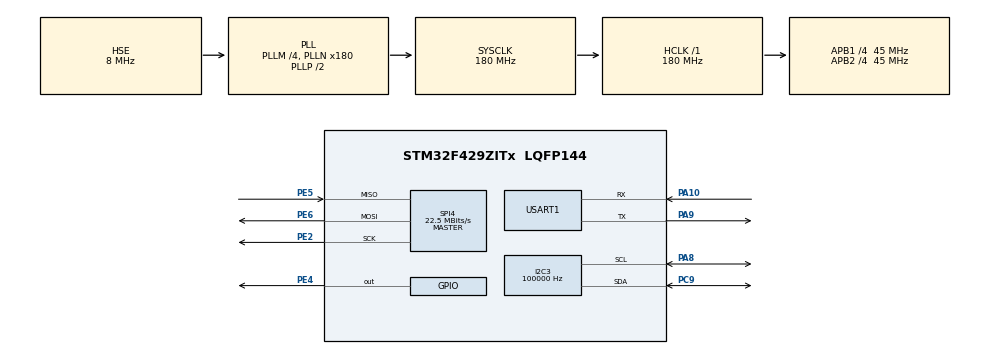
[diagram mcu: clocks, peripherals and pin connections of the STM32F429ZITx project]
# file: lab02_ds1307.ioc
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I2C3.ClockSpeed=100000
I2C3.I2C_Mode=I2C_Fast
Mcu.Family=STM32F4
Mcu.Name=STM32F429ZITx
Mcu.Package=LQFP144
NVIC.PriorityGroup=NVIC_PRIORITYGROUP_4
PA10.Mode=Asynchronous
PA10.Signal=USART1_RX
PA8.Mode=I2C
PA8.Signal=I2C3_SCL
PA9.Mode=Asynchronous
PA9.Signal=USART1_TX
PC9.Mode=I2C
PC9.Signal=I2C3_SDA
PE2.Mode=Full_Duplex_Master
PE2.Signal=SPI4_SCK
PE4.Signal=GPIO_Output
PE5.Mode=Full_Duplex_Master
PE5.Signal=SPI4_MISO
PE6.Mode=Full_Duplex_Master
PE6.Signal=SPI4_MOSI
PH0/OSC_IN.Mode=HSE-External-Oscillator
PH0/OSC_IN.Signal=RCC_OSC_IN
PH1/OSC_OUT.Mode=HSE-External-Oscillator
PH1/OSC_OUT.Signal=RCC_OSC_OUT
ProjectManager.HeapSize=0x200
ProjectManager.StackSize=0x400
ProjectManager.TargetToolchain=STM32CubeIDE
RCC.48MHZClocksFreq_Value=90000000
RCC.AHBFreq_Value=180000000
RCC.APB1CLKDivider=RCC_HCLK_DIV4
RCC.APB1Freq_Value=45000000
RCC.APB1TimFreq_Value=90000000
RCC.APB2CLKDivider=RCC_HCLK_DIV4
RCC.APB2Freq_Value=45000000
RCC.APB2TimFreq_Value=90000000
RCC.CortexFreq_Value=180000000
RCC.HCLKFreq_Value=180000000
RCC.HSE_VALUE=8000000
RCC.HSI_VALUE=16000000
RCC.LSE_VALUE=32768
RCC.PLLM=4
RCC.PLLN=180
RCC.PLLSourceVirtual=RCC_PLLSOURCE_HSE
RCC.SYSCLKFreq_VALUE=180000000
RCC.SYSCLKSource=RCC_SYSCLKSOURCE_PLLCLK
RCC.VCOOutputFreq_Value=360000000
SPI4.CalculateBaudRate=22.5 MBits/s
SPI4.Direction=SPI_DIRECTION_2LINES
SPI4.Mode=SPI_MODE_MASTER
SPI4.VirtualType=VM_MASTER
USART1.VirtualMode=VM_ASYNC
board=custom

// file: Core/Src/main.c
/* USER CODE BEGIN Header */
/**
  ******************************************************************************
  * @file           : main.c
  * @brief          : Main program body
  ******************************************************************************
  * @attention
  *
  * Copyright (c) 2026 STMicroelectronics.
  * All rights reserved.
  *
  * This software is licensed under terms that can be found in the LICENSE file
  * in the root directory of this software component.
  * If no LICENSE file comes with this software, it is provided AS-IS.
  *
  ******************************************************************************
  */
/* USER CODE END Header */
#include "main.h"

/* USER CODE BEGIN Includes */
#include <stdio.h>
#include <string.h>
/* USER CODE END Includes */

/* USER CODE BEGIN PD */
#define DS1307_ADDR_WRITE 0xD0
#define DS1307_ADDR_READ  0xD1
#define DS1307_SET_TIME_ONCE 1
/* USER CODE END PD */

I2C_HandleTypeDef hi2c3;

SPI_HandleTypeDef hspi4;

UART_HandleTypeDef huart1;

/* USER CODE BEGIN PV */
struct Time
{
  uint8_t sec;
  uint8_t min;
  uint8_t hour;
  uint8_t weekday;
  uint8_t day;
  uint8_t month;
  uint8_t year;
};
/* USER CODE END PV */

void SystemClock_Config(void);
static void MX_GPIO_Init(void);
static void MX_I2C3_Init(void);
static void MX_SPI4_Init(void);
static void MX_USART1_UART_Init(void);
/* USER CODE BEGIN PFP */
HAL_StatusTypeDef SetTime(struct Time *t);
HAL_StatusTypeDef GetTime(struct Time *t);
/* USER CODE END PFP */

/* USER CODE BEGIN 0 */
static uint8_t DecToBcd(uint8_t val)
{
  return ((val / 10) << 4) | (val % 10);
}

static uint8_t BcdToDec(uint8_t val)
{
  return ((val >> 4) * 10) + (val & 0x0F);
}

HAL_StatusTypeDef SetTime(struct Time *t)
{
  uint8_t data[7];

  data[0] = DecToBcd(t->sec) & 0x7F;
  data[1] = DecToBcd(t->min);
  data[2] = DecToBcd(t->hour);
  data[3] = DecToBcd(t->weekday);
  data[4] = DecToBcd(t->day);
  data[5] = DecToBcd(t->month);
  data[6] = DecToBcd(t->year);

  return HAL_I2C_Mem_Write(&hi2c3, DS1307_ADDR_WRITE, 0x00, I2C_MEMADD_SIZE_8BIT, data, 7, 1000);
}

HAL_StatusTypeDef GetTime(struct Time *t)
{
  uint8_t data[7];
  HAL_StatusTypeDef ret;

  ret = HAL_I2C_Mem_Read(&hi2c3, DS1307_ADDR_READ, 0x00, I2C_MEMADD_SIZE_8BIT, data, 7, 1000);
  if (ret != HAL_OK)
  {
    return ret;
  }

  t->sec     = BcdToDec(data[0] & 0x7F);
  t->min     = BcdToDec(data[1] & 0x7F);
  t->hour    = BcdToDec(data[2] & 0x3F);
  t->weekday = BcdToDec(data[3] & 0x07);
  t->day     = BcdToDec(data[4] & 0x3F);
  t->month   = BcdToDec(data[5] & 0x1F);
  t->year    = BcdToDec(data[6]);

  return HAL_OK;
}
/* USER CODE END 0 */

int main(void)
{

  /* MCU Configuration--------------------------------------------------------*/

  /* Reset of all peripherals, Initializes the Flash interface and the Systick. */
  HAL_Init();

  /* Configure the system clock */
  SystemClock_Config();

  /* Initialize all configured peripherals */
  MX_GPIO_Init();
  MX_I2C3_Init();
  MX_SPI4_Init();
  MX_USART1_UART_Init();
  /* USER CODE BEGIN 2 */
  struct Time set_time, get_time;
  char buff[50];

  set_time.sec = 10;
  set_time.min = 30;
  set_time.hour = 7;
  set_time.weekday = 2;
  set_time.day = 10;
  set_time.month = 5;
  set_time.year = 26;

  #if DS1307_SET_TIME_ONCE
  SetTime(&set_time);
  #endif
  /* USER CODE END 2 */

  /* Infinite loop */
  while (1)
  {

    /* USER CODE BEGIN 3 */
	  if (GetTime(&get_time) == HAL_OK)
	  {
	    sprintf(buff, "%02d:%02d:%02d-%02d-%02d/%02d/%02d\r\n",
	            get_time.hour,
	            get_time.min,
	            get_time.sec,
	            get_time.weekday,
	            get_time.day,
	            get_time.month,
	            get_time.year);

	    HAL_UART_Transmit(&huart1, (uint8_t *)buff, strlen(buff), 1000);
	  }
	  else
	  {
	    sprintf(buff, "DS1307 read error\r\n");
	    HAL_UART_Transmit(&huart1, (uint8_t *)buff, strlen(buff), 1000);
	  }

	  HAL_Delay(500);
  }
  /* USER CODE END 3 */
}

void SystemClock_Config(void)
{
  RCC_OscInitTypeDef RCC_OscInitStruct = {0};
  RCC_ClkInitTypeDef RCC_ClkInitStruct = {0};

  /** Configure the main internal regulator output voltage
  */
  __HAL_RCC_PWR_CLK_ENABLE();
  __HAL_PWR_VOLTAGESCALING_CONFIG(PWR_REGULATOR_VOLTAGE_SCALE1);

  /** Initializes the RCC Oscillators according to the specified parameters
  * in the RCC_OscInitTypeDef structure.
  */
  RCC_OscInitStruct.OscillatorType = RCC_OSCILLATORTYPE_HSE;
  RCC_OscInitStruct.HSEState = RCC_HSE_ON;
  RCC_OscInitStruct.PLL.PLLState = RCC_PLL_ON;
  RCC_OscInitStruct.PLL.PLLSource = RCC_PLLSOURCE_HSE;
  RCC_OscInitStruct.PLL.PLLM = 4;
  RCC_OscInitStruct.PLL.PLLN = 180;
  RCC_OscInitStruct.PLL.PLLP = RCC_PLLP_DIV2;
  RCC_OscInitStruct.PLL.PLLQ = 4;
  if (HAL_RCC_OscConfig(&RCC_OscInitStruct) != HAL_OK)
  {
    Error_Handler();
  }

  /** Activate the Over-Drive mode
  */
  if (HAL_PWREx_EnableOverDrive() != HAL_OK)
  {
    Error_Handler();
  }

  /** Initializes the CPU, AHB and APB buses clocks
  */
  RCC_ClkInitStruct.ClockType = RCC_CLOCKTYPE_HCLK|RCC_CLOCKTYPE_SYSCLK
                              |RCC_CLOCKTYPE_PCLK1|RCC_CLOCKTYPE_PCLK2;
  RCC_ClkInitStruct.SYSCLKSource = RCC_SYSCLKSOURCE_PLLCLK;
  RCC_ClkInitStruct.AHBCLKDivider = RCC_SYSCLK_DIV1;
  RCC_ClkInitStruct.APB1CLKDivider = RCC_HCLK_DIV4;
  RCC_ClkInitStruct.APB2CLKDivider = RCC_HCLK_DIV4;

  if (HAL_RCC_ClockConfig(&RCC_ClkInitStruct, FLASH_LATENCY_5) != HAL_OK)
  {
    Error_Handler();
  }
}

static void MX_I2C3_Init(void)
{

  hi2c3.Instance = I2C3;
  hi2c3.Init.ClockSpeed = 100000;
  hi2c3.Init.DutyCycle = I2C_DUTYCYCLE_2;
  hi2c3.Init.OwnAddress1 = 0;
  hi2c3.Init.AddressingMode = I2C_ADDRESSINGMODE_7BIT;
  hi2c3.Init.DualAddressMode = I2C_DUALADDRESS_DISABLE;
  hi2c3.Init.OwnAddress2 = 0;
  hi2c3.Init.GeneralCallMode = I2C_GENERALCALL_DISABLE;
  hi2c3.Init.NoStretchMode = I2C_NOSTRETCH_DISABLE;
  if (HAL_I2C_Init(&hi2c3) != HAL_OK)
  {
    Error_Handler();
  }

  /** Configure Analogue filter
  */
  if (HAL_I2CEx_ConfigAnalogFilter(&hi2c3, I2C_ANALOGFILTER_ENABLE) != HAL_OK)
  {
    Error_Handler();
  }

  /** Configure Digital filter
  */
  if (HAL_I2CEx_ConfigDigitalFilter(&hi2c3, 0) != HAL_OK)
  {
    Error_Handler();
  }

}

static void MX_SPI4_Init(void)
{

  /* SPI4 parameter configuration*/
  hspi4.Instance = SPI4;
  hspi4.Init.Mode = SPI_MODE_MASTER;
  hspi4.Init.Direction = SPI_DIRECTION_2LINES;
  hspi4.Init.DataSize = SPI_DATASIZE_8BIT;
  hspi4.Init.CLKPolarity = SPI_POLARITY_LOW;
  hspi4.Init.CLKPhase = SPI_PHASE_1EDGE;
  hspi4.Init.NSS = SPI_NSS_SOFT;
  hspi4.Init.BaudRatePrescaler = SPI_BAUDRATEPRESCALER_2;
  hspi4.Init.FirstBit = SPI_FIRSTBIT_MSB;
  hspi4.Init.TIMode = SPI_TIMODE_DISABLE;
  hspi4.Init.CRCCalculation = SPI_CRCCALCULATION_DISABLE;
  hspi4.Init.CRCPolynomial = 10;
  if (HAL_SPI_Init(&hspi4) != HAL_OK)
  {
    Error_Handler();
  }

}

static void MX_USART1_UART_Init(void)
{

  huart1.Instance = USART1;
  huart1.Init.BaudRate = 115200;
  huart1.Init.WordLength = UART_WORDLENGTH_8B;
  huart1.Init.StopBits = UART_STOPBITS_1;
  huart1.Init.Parity = UART_PARITY_NONE;
  huart1.Init.Mode = UART_MODE_TX_RX;
  huart1.Init.HwFlowCtl = UART_HWCONTROL_NONE;
  huart1.Init.OverSampling = UART_OVERSAMPLING_16;
  if (HAL_UART_Init(&huart1) != HAL_OK)
  {
    Error_Handler();
  }

}

static void MX_GPIO_Init(void)
{
  GPIO_InitTypeDef GPIO_InitStruct = {0};

  /* GPIO Ports Clock Enable */
  __HAL_RCC_GPIOE_CLK_ENABLE();
  __HAL_RCC_GPIOH_CLK_ENABLE();
  __HAL_RCC_GPIOC_CLK_ENABLE();
  __HAL_RCC_GPIOA_CLK_ENABLE();

  /*Configure GPIO pin Output Level */
  HAL_GPIO_WritePin(GPIOE, GPIO_PIN_4, GPIO_PIN_RESET);

  /*Configure GPIO pin : PE4 */
  GPIO_InitStruct.Pin = GPIO_PIN_4;
  GPIO_InitStruct.Mode = GPIO_MODE_OUTPUT_PP;
  GPIO_InitStruct.Pull = GPIO_NOPULL;
  GPIO_InitStruct.Speed = GPIO_SPEED_FREQ_LOW;
  HAL_GPIO_Init(GPIOE, &GPIO_InitStruct);

}

void Error_Handler(void)
{
  __disable_irq();
  while (1)
  {
  }
}
